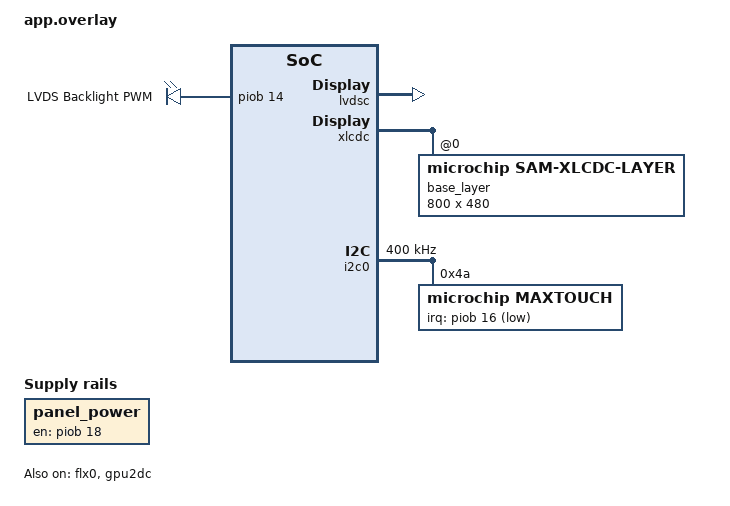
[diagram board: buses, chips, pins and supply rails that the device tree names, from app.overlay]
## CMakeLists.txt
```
target_sources(app PRIVATE
    src/main.c
    src/microbench.c
    src/draw_nano2d/lv_draw_nano2d.c
)

# Use LVGL's internal idle measurement for CPU (CONFIG_CPU_LOAD unavailable on A7D65 for some reason)
zephyr_compile_definitions(LV_SYSMON_GET_IDLE=lv_timer_get_idle)

# LVGL private headers (lv_draw_private.h, lv_area_private.h) for the nano2D draw
# unit, the nano2D GPU public headers, and the LVGL demo sources.
set(LVGL_DIR ${ZEPHYR_LVGL_MODULE_DIR})
target_include_directories(app PRIVATE
    ${LVGL_DIR}/src
    ${CMAKE_CURRENT_SOURCE_DIR}/../drivers/gpu/microchip_gc520ul/inc
)
file(GLOB_RECURSE LVGL_DEMO_SRCS
    ${LVGL_DIR}/demos/benchmark/*.c
    ${LVGL_DIR}/demos/widgets/*.c
    ${LVGL_DIR}/demos/lv_demos.c
)
target_sources(app PRIVATE ${LVGL_DEMO_SRCS})
```

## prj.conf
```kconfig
# Enable Logging (deferred mode — immediate blocks the render thread)
CONFIG_LOG=y
CONFIG_LOG_BUFFER_SIZE=2048
CONFIG_DISPLAY_LOG_LEVEL_INF=y

# Enable Display Subsystem
CONFIG_DISPLAY=y

# Enable XLCDC driver
CONFIG_DISPLAY_MICROCHIP_SAM_XLCDC=y
CONFIG_DISPLAY_MICROCHIP_SAM_XLCDC_LAYER=y

# Enable LVDSC bridge driver
CONFIG_DISPLAY_MICROCHIP_SAM_LVDSC=y

# Kernel VM must cover heap (16MB) + kernel code/data/stacks
CONFIG_KERNEL_VM_SIZE=0x2000000

# Stacks: LVGL rendering plus the nano2D GPU library's deep call chains / large
# frames. main() and POST_KERNEL device init (n2d_init/n2d_open) run on the main
# stack; the GPU ISR -> n2d_handle_events runs on the ISR stack. Sentinel turns
# any future overflow into a clean fatal.
CONFIG_MAIN_STACK_SIZE=16384
CONFIG_SYSTEM_WORKQUEUE_STACK_SIZE=4096
CONFIG_ISR_STACK_SIZE=4096
CONFIG_STACK_SENTINEL=y

# Keep MICROCHIP_SAM_XLCDC_DOUBLE_BUFFER OFF — LVGL owns the two VDBs (zero-copy).
# CONFIG_MICROCHIP_SAM_XLCDC_DOUBLE_BUFFER=y

# Heap for base-layer framebuffer + GC520UL GPU heap + slack
CONFIG_HEAP_MEM_POOL_SIZE=4194304

# GC520UL 2D GPU (nano2D library linked as a prebuilt static lib)
CONFIG_GPU_MICROCHIP_GC520UL=y

# Non-cached MMU region for the nano2D GPU heap. The GPU DMAs its command buffers
# straight out of this heap, so mapping the region non-cached keeps CPU writes
# coherent with the GPU without any per-allocation cache maintenance. Backs the
# __nocache gpu_heap in microchip_gc520ul.c — see there for the full rationale.
CONFIG_NOCACHE_MEMORY=y

# FLEXCOM MFD (sets FLEX_MR to TWI/SPI/USART mode)
CONFIG_MFD=y

# Panel power regulator (PB18 enable before touch init)
CONFIG_REGULATOR=y

# Input / Touch
CONFIG_INPUT=y
CONFIG_INPUT_MODE_SYNCHRONOUS=y

# LVGL (zero-copy: LVGL owns buffers, driver pointer-swaps DMA address)
CONFIG_LVGL=y
CONFIG_LV_Z_FULL_REFRESH=y
CONFIG_LV_Z_VDB_SIZE=100
CONFIG_LV_Z_DOUBLE_VDB=y
CONFIG_LV_Z_MEM_POOL_SIZE=524288
CONFIG_LV_COLOR_DEPTH_16=y
CONFIG_LV_DPI_DEF=128
# The GC520 needs its dest/source surface base cache-line aligned; align LVGL's
# draw buffers (incl. the VDBs the GPU renders into) to 64 bytes. Default 4
# leaves the VDB base misaligned -> GPU writes stray edge columns.
CONFIG_LV_DRAW_BUF_ALIGN=64
# Align LVGL's static image arrays (the const C-array assets the GPU blits as
# source surfaces) to 64 bytes too. Zephyr's lv_conf.h maps LV_ATTRIBUTE_MEM_ALIGN
# to __aligned(this); the default 1 leaves image bases 4-byte aligned, which the
# GC520 source fetch mis-reads (torn/sheared blit). The draw unit's alignment
# guard pushes any still-unaligned source to the SW renderer.
CONFIG_LV_ATTRIBUTE_MEM_ALIGN_SIZE=64
CONFIG_LV_FONT_MONTSERRAT_14=y
CONFIG_LV_FONT_MONTSERRAT_20=y
CONFIG_LV_FONT_MONTSERRAT_24=y
CONFIG_LV_FONT_MONTSERRAT_26=y
CONFIG_LV_FONT_MONTSERRAT_28=y

# LVGL Benchmark Demo (requires widgets demo)
CONFIG_LV_BUILD_DEMOS=y
CONFIG_LV_USE_DEMO_BENCHMARK=y
CONFIG_LV_USE_DEMO_WIDGETS=y
CONFIG_LV_DRAW_LAYER_SIMPLE_BUF_SIZE=76800
CONFIG_LV_USE_SYSMON=y
CONFIG_LV_USE_PERF_MONITOR=y

# Route LVGL's LV_LOG() through printf so the benchmark's per-scene and
# "All scenes avg." FPS/CPU CSV summary is emitted on the console UART (the
# on-screen summary table needs LV_USE_LOG too). USER level keeps it to the
# benchmark's own output without trace/info spam.
CONFIG_LV_USE_LOG=y
CONFIG_LV_LOG_LEVEL_USER=y
CONFIG_LV_LOG_PRINTF=y
```

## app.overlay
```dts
#include <zephyr/dt-bindings/gpio/gpio.h>
#include <zephyr/dt-bindings/interrupt-controller/arm-gic.h>
#include <zephyr/dt-bindings/i2c/i2c.h>
#include <zephyr/dt-bindings/mfd/mfd_mchp_sam_flexcom.h>

&pinctrl {
    flx0_i2c_default: flx0_i2c_default {
        group1 {
            pinmux = <PIN_PC7__FLEXCOM0_IO0>,  /* SDA */
                     <PIN_PC6__FLEXCOM0_IO1>;  /* SCL */
            bias-pull-up;
        };
    };
};

&flx0 {
    mchp,flexcom-mode = <SAM_FLEXCOM_MODE_TWI>;
    status = "okay";

    i2c0: i2c0@600 {
        pinctrl-0 = <&flx0_i2c_default>;
        pinctrl-names = "default";
        clock-frequency = <I2C_BITRATE_FAST>;
        status = "okay";

        maxtouch: maxtouch@4a {
            compatible = "microchip,maxtouch";
            reg = <0x4a>;
            irq-gpios = <&piob 16 GPIO_ACTIVE_LOW>;
            screen-width = <800>;
            screen-height = <480>;
            max-touches = <5>;
            startup-delay-ms = <100>;
        };
    };
};

/ {
    chosen {
        zephyr,display = &base_layer;
        zephyr,touch = &maxtouch;
    };
    panel_power: panel-power {
        compatible = "regulator-fixed";
        regulator-name = "panel-power";
        enable-gpios = <&piob 18 GPIO_ACTIVE_HIGH>;
        regulator-boot-on;
    };

    leds {
        compatible = "gpio-leds";

        gpio_lvds_pwm: led_piob_14 {
            gpios = <&piob 14 GPIO_ACTIVE_HIGH>;
            label = "LVDS Backlight PWM";
        };
    };

    gpu2dc: gpu@e1480000 {
        compatible = "microchip,gc520ul";
        reg = <0xe1480000 0x4000>;
        interrupt-parent = <&gic>;
        /* ARM GIC numbers SPIs from 0, while SoC interrupt IDs start at 32
         * (SPI 0 == IRQ 32). The GPU2DC SoC interrupt is 77, so its GIC SPI
         * number is 77 - 32 = 45.
         */
        interrupts = <GIC_SPI 45 IRQ_TYPE_LEVEL IRQ_DEFAULT_PRIORITY>;
        status = "okay";
    };

    lvdsc: lvdsc@e1408000 {
        compatible = "microchip,sam-lvdsc";
        status = "okay";
        reg = <0xe1408000 0x4000>;
        dpi-input-type = "24-bit";
        dc-mode = "unbalanced";
        mapping = "jeida";
        lane-a3-bit = <0>;
        dc-bias = <9>;
        pre-emphasis-clk = <0>;
        pre-emphasis-a0 = <0>;
        pre-emphasis-a1 = <0>;
        pre-emphasis-a2 = <0>;
        pre-emphasis-a3 = <0>;
    };

    xlcdc: xlcdc@e1400000 {
        compatible = "microchip,sama7d65-xlcdc";
        status = "okay";
        reg = <0xe1400000 0x4000>;
        interrupt-parent = <&gic>;
        interrupts = <GIC_SPI 56 IRQ_TYPE_LEVEL IRQ_DEFAULT_PRIORITY>;
        #address-cells = <1>;
        #size-cells = <0>;
        width = <800>;
        height = <480>;
        pixel-format = <3>;        /* RGB_565 */
        output-mode = "dpi-24";
        guard-time = <1>;
        backlight-pwm-source = "slow-clock";
        backlight-pwm-prescaler = <0>;
        backlight-brightness = <255>;
        port = <&lvdsc>;

        display-timings {
            compatible = "zephyr,panel-timing";
            clock-frequency = <25000000>;
            hsync-len = <5>;
            hfront-porch = <88>;
            hback-porch = <40>;
            vsync-len = <5>;
            vfront-porch = <23>;
            vback-porch = <1>;
            de-active = <0>;
            hsync-active = <1>;
            vsync-active = <1>;
            pixelclk-active = <0>;
        };

        base_layer: layer-base@0 {
            compatible = "microchip,sam-xlcdc-layer";
            reg = <0>;
            layer-type = "base";
            width = <800>;
            height = <480>;
            default-color = <0 0 0>;
            no-alloc-framebuffer;
        };
    };
};
```

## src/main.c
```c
/*
 * Copyright (c) 2026 Microchip Technology Inc.
 * SPDX-License-Identifier: Apache-2.0
 *
 * LCDC POC — LVGL Benchmark Demo
 */

#include <zephyr/device.h>
#include <zephyr/drivers/display.h>
#include <zephyr/drivers/gpio.h>
#include <zephyr/kernel.h>
#include <zephyr/logging/log.h>

#include <lvgl.h>

/* -----------------------------------------------------------------------
 * Benchmark knobs — edit these to switch modes, then rebuild.
 * ----------------------------------------------------------------------- */

/* 1 = register the GPU (GC520) draw unit before the benchmark runs.
 * 0 = pure software renderer — use this for the SW baseline comparison. */
#define USE_NANO2D_DRAW_UNIT 1

/* 1 = kick the GPU non-blocking (n2d_commit_ex) and reclaim via n2d_wait()
 *     so the SW unit can render independent tasks during GPU execution.
 *     Measured flat on this full-refresh benchmark (no independent SW work
 *     to overlap); kept for threaded-SW or GPU-heavy workloads.
 * 0 = blocking n2d_commit() per batch (default, proven path). */
#define NANO2D_ASYNC_COMMIT 0

/* 1 = run the GPU-vs-CPU per-op microbenchmark at boot (prints a CSV table
 *     over UART, then halts). GPU is initialised by the driver regardless.
 *     See src/microbench.c and benchmark_results.md for results.
 * 0 = run the normal LVGL benchmark demo (default). */
#define RUN_MICROBENCH 0

/* ----------------------------------------------------------------------- */

#include "draw_nano2d/lv_draw_nano2d.h"
#include "microbench.h"

/* LVGL benchmark demo — declared here to avoid include path issues */
void lv_demo_benchmark(void);

LOG_MODULE_REGISTER(main_app, LOG_LEVEL_INF);

static const struct gpio_dt_spec lvds_pwm =
	GPIO_DT_SPEC_GET(DT_NODELABEL(gpio_lvds_pwm), gpios);

int main(void)
{
	int ret;

	if (!gpio_is_ready_dt(&lvds_pwm)) {
		LOG_ERR("GPIO not ready");
		return -ENODEV;
	}

	ret = gpio_pin_configure_dt(&lvds_pwm, GPIO_OUTPUT_ACTIVE);
	if (ret < 0) {
		return ret;
	}

	const struct device *display_dev =
		DEVICE_DT_GET(DT_CHOSEN(zephyr_display));

	if (!device_is_ready(display_dev)) {
		LOG_ERR("Display device not ready");
		return -ENODEV;
	}

	display_blanking_off(display_dev);

#if USE_NANO2D_DRAW_UNIT
	/* Register the GPU draw unit before the benchmark creates any draw tasks.
	 * lv_init() has already run via the Zephyr LVGL display init by this point. */
	const struct device *gpu_dev = DEVICE_DT_GET(DT_NODELABEL(gpu2dc));

	if (device_is_ready(gpu_dev)) {
		lv_draw_nano2d_init();
	} else {
		LOG_WRN("GPU not ready; LVGL will render on SW only");
	}
#endif

#if RUN_MICROBENCH
	/* GPU-vs-CPU per-op microbenchmark, then halt (skips the demo). The GPU is
	 * already initialised by the driver at boot. */
	microbench_run();
	while (1) {
		k_sleep(K_MSEC(1000));
	}
#endif

	LOG_INF("Starting LVGL Benchmark");
	lv_demo_benchmark();

	while (1) {
		lv_timer_handler();
		k_sleep(K_MSEC(LV_DEF_REFR_PERIOD));
	}

	return 0;
}
```

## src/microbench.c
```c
/*
 * Copyright (c) 2026 Microchip Technology Inc.
 * SPDX-License-Identifier: Apache-2.0
 *
 * GPU-vs-CPU per-op microbenchmark (see microbench.h).
 *
 * For each op type and size it reports three per-op times (ns):
 *   SW       - software reference (plain C; the compiler may vectorise, but it
 *              is NOT the LVGL NEON renderer, so treat it as a *lower bound* on
 *              SW speed: if the GPU loses to this, it loses to LVGL SW too).
 *   GPU/op   - one op + its own n2d_commit (worst case: full per-commit cost).
 *   GPU marg - many ops in a single commit, divided out (best case: the commit
 *              cost is amortised; this is the marginal cost a size-gate cares
 *              about, since the real draw unit batches).
 * The crossover size (GPU marg < SW) is the size-gate sweet spot, if any.
 *
 * The GPU path includes the same cache maintenance the draw unit does (clean
 * source + dest before, invalidate dest after) so the numbers are comparable.
 */

#include "microbench.h"

#include <string.h>

#include <zephyr/cache.h>
#include <zephyr/kernel.h>
#include <zephyr/sys/printk.h>

#include "nano2D.h"

/* Destination is allocated tall enough for a 2x upscale of the largest source
 * (2 * 256 = 512 rows). Width matches a typical panel. */
#define DW       800
#define DH       512
#define SMAX     256
#define CL       64U

enum { OP_FILL, OP_COPY, OP_ALPHA, OP_SCALE, OP_CNT };
static const char *op_name[OP_CNT] = { "fill", "copy(RGB)", "alpha(ARGB)", "scale2x(RGB)" };

static uint16_t *dst;
static uint16_t *src565;
static uint32_t *srcargb;
static n2d_buffer_t dbuf, sbuf565, sbufargb;

static void mkbuf(n2d_buffer_t *b, void *p, int w, int h,
		  n2d_buffer_format_t fmt, int bpp)
{
	memset(b, 0, sizeof(*b));
	b->width = w;
	b->height = h;
	b->stride = w * bpp;
	b->format = fmt;
	b->tiling = N2D_LINEAR;
	b->memory = p;
	b->gpu = (n2d_uintptr_t)p;
}

/* Clean/invalidate a w x h dest region at (0,0), row by row (stride DW), like
 * the draw unit's cache_rows. */
static void dst_cache(int w, int h, bool inv)
{
	size_t bytes = (size_t)w * 2;

	for (int y = 0; y < h; y++) {
		uintptr_t row = (uintptr_t)(dst + (size_t)y * DW);
		uintptr_t s = row & ~(uintptr_t)(CL - 1U);
		uintptr_t e = (row + bytes + CL - 1U) & ~(uintptr_t)(CL - 1U);

		if (inv) {
			sys_cache_data_invd_range((void *)s, e - s);
		} else {
			sys_cache_data_flush_range((void *)s, e - s);
		}
	}
}

/* Clean the w x h source region the GPU will read (stride SMAX). */
static void src_clean(const void *base, int w, int h, int bpp)
{
	size_t bytes = (size_t)w * bpp;

	for (int y = 0; y < h; y++) {
		const uint8_t *row = (const uint8_t *)base + (size_t)y * SMAX * bpp;

		sys_cache_data_flush_range((void *)row, bytes);
	}
}

static void gpu_set_blend(bool alpha)
{
	n2d_state_config_t sc;

	memset(&sc, 0, sizeof(sc));
	sc.state = N2D_SET_PIXEL_MULTIPLY_MODE;
	sc.config.pixelMultiplyMode.srcPremult =
		alpha ? N2D_COLOR_MULTIPLY_ENABLE : N2D_COLOR_MULTIPLY_DISABLE;
	sc.config.pixelMultiplyMode.dstPremult = N2D_COLOR_MULTIPLY_DISABLE;
	sc.config.pixelMultiplyMode.srcGlobal = N2D_GLOBAL_COLOR_MULTIPLY_DISABLE;
	sc.config.pixelMultiplyMode.dstDemult = N2D_COLOR_MULTIPLY_DISABLE;
	(void)n2d_set(&sc);
}

/* Queue one GPU op (does not commit). Also cleans the source/dest it touches. */
static void gpu_queue(int op, int w, int h)
{
	switch (op) {
	case OP_FILL: {
		n2d_rectangle_t r = {0, 0, w, h};

		dst_cache(w, h, false);
		(void)n2d_fill(&dbuf, &r, (n2d_color_t)0xFFFF5050u, N2D_BLEND_NONE);
		break;
	}
	case OP_COPY: {
		n2d_rectangle_t dr = {0, 0, w, h};
		n2d_rectangle_t sr = {0, 0, w, h};

		gpu_set_blend(false);
		src_clean(src565, w, h, 2);
		dst_cache(w, h, false);
		(void)n2d_blit(&dbuf, &dr, &sbuf565, &sr, N2D_BLEND_NONE);
		break;
	}
	case OP_ALPHA: {
		n2d_rectangle_t dr = {0, 0, w, h};
		n2d_rectangle_t sr = {0, 0, w, h};

		gpu_set_blend(true);
		src_clean(srcargb, w, h, 4);
		dst_cache(w, h, false);
		(void)n2d_blit(&dbuf, &dr, &sbufargb, &sr, N2D_BLEND_SRC_OVER);
		break;
	}
	case OP_SCALE: {
		n2d_rectangle_t dr = {0, 0, 2 * w, 2 * h};
		n2d_rectangle_t sr = {0, 0, w, h};

		gpu_set_blend(false);
		src_clean(src565, w, h, 2);
		dst_cache(2 * w, 2 * h, false);
		(void)n2d_blit(&dbuf, &dr, &sbuf565, &sr, N2D_BLEND_NONE);
		break;
	}
	default:
		break;
	}
}

static void gpu_invd(int op, int w, int h)
{
	if (op == OP_SCALE) {
		dst_cache(2 * w, 2 * h, true);
	} else {
		dst_cache(w, h, true);
	}
}

/* ------------------------- software reference ------------------------- */

static void sw_op(int op, int w, int h)
{
	switch (op) {
	case OP_FILL:
		for (int y = 0; y < h; y++) {
			uint16_t *row = dst + (size_t)y * DW;

			for (int x = 0; x < w; x++) {
				row[x] = 0xFAAAu;
			}
		}
		break;
	case OP_COPY:
		for (int y = 0; y < h; y++) {
			memcpy(dst + (size_t)y * DW, src565 + (size_t)y * SMAX,
			       (size_t)w * 2);
		}
		break;
	case OP_ALPHA:
		for (int y = 0; y < h; y++) {
			uint16_t *d = dst + (size_t)y * DW;
			const uint32_t *s = srcargb + (size_t)y * SMAX;

			for (int x = 0; x < w; x++) {
				uint32_t px = s[x];
				uint32_t a = px >> 24;
				uint32_t sr = (px >> 16) & 0xFF;
				uint32_t sg = (px >> 8) & 0xFF;
				uint32_t sb = px & 0xFF;
				uint16_t dv = d[x];
				uint32_t dr = (dv >> 11) << 3;
				uint32_t dg = ((dv >> 5) & 0x3F) << 2;
				uint32_t db = (dv & 0x1F) << 3;
				uint32_t rr = (sr * a + dr * (255 - a)) / 255;
				uint32_t rg = (sg * a + dg * (255 - a)) / 255;
				uint32_t rb = (sb * a + db * (255 - a)) / 255;

				d[x] = (uint16_t)(((rr & 0xF8) << 8) |
						  ((rg & 0xFC) << 3) | (rb >> 3));
			}
		}
		break;
	case OP_SCALE:
		for (int y = 0; y < 2 * h; y++) {
			uint16_t *d = dst + (size_t)y * DW;
			const uint16_t *s = src565 + (size_t)(y >> 1) * SMAX;

			for (int x = 0; x < 2 * w; x++) {
				d[x] = s[x >> 1];
			}
		}
		break;
	default:
		break;
	}
}

/* ------------------------------ timing -------------------------------- */

static uint64_t ns_per(uint32_t cyc_total, uint32_t reps)
{
	return k_cyc_to_ns_floor64(cyc_total) / reps;
}

/* Many ops in a single commit -> marginal per-op cost (commit amortised). */
static uint64_t gpu_marginal_ns(int op, int w, int h, uint32_t k)
{
	uint32_t c0 = k_cycle_get_32();

	for (uint32_t i = 0; i < k; i++) {
		gpu_queue(op, w, h);
	}
	(void)n2d_commit();
	gpu_invd(op, w, h);

	uint32_t c1 = k_cycle_get_32();

	return ns_per(c1 - c0, k);
}

/* One op + its own commit, repeated -> full per-commit per-op cost. */
static uint64_t gpu_percommit_ns(int op, int w, int h, uint32_t m)
{
	uint32_t c0 = k_cycle_get_32();

	for (uint32_t i = 0; i < m; i++) {
		gpu_queue(op, w, h);
		(void)n2d_commit();
		gpu_invd(op, w, h);
	}

	uint32_t c1 = k_cycle_get_32();

	return ns_per(c1 - c0, m);
}

static uint64_t sw_ns(int op, int w, int h, uint32_t m)
{
	uint32_t c0 = k_cycle_get_32();

	for (uint32_t i = 0; i < m; i++) {
		sw_op(op, w, h);
	}

	uint32_t c1 = k_cycle_get_32();

	return ns_per(c1 - c0, m);
}

static void fill_sources(void)
{
	for (int y = 0; y < SMAX; y++) {
		for (int x = 0; x < SMAX; x++) {
			uint8_t r = (uint8_t)x, g = (uint8_t)y, b = 0x80;

			src565[y * SMAX + x] = (uint16_t)(((r & 0xF8) << 8) |
						((g & 0xFC) << 3) | (b >> 3));
			srcargb[y * SMAX + x] = ((uint32_t)((x ^ y) & 0xFF) << 24) |
						((uint32_t)r << 16) |
						((uint32_t)g << 8) | b;
		}
	}
	sys_cache_data_flush_range(src565, (size_t)SMAX * SMAX * 2);
	sys_cache_data_flush_range(srcargb, (size_t)SMAX * SMAX * 4);
}

void microbench_run(void)
{
	static const int sizes[] = {16, 32, 64, 128, 256};

	dst = k_aligned_alloc(CL, (size_t)DW * DH * 2);
	src565 = k_aligned_alloc(CL, (size_t)SMAX * SMAX * 2);
	srcargb = k_aligned_alloc(CL, (size_t)SMAX * SMAX * 4);
	if (!dst || !src565 || !srcargb) {
		printk("@MB alloc failed\n");
		return;
	}
	fill_sources();
	mkbuf(&dbuf, dst, DW, DH, N2D_RGB565, 2);
	mkbuf(&sbuf565, src565, SMAX, SMAX, N2D_RGB565, 2);
	mkbuf(&sbufargb, srcargb, SMAX, SMAX, N2D_ARGB8888, 4);

	/* Warm up the GPU (first commit pays one-time setup). */
	gpu_queue(OP_FILL, 32, 32);
	(void)n2d_commit();
	gpu_invd(OP_FILL, 32, 32);

	printk("@MB GPU vs CPU per-op (ns), GPU @532MHz. SW = plain C (lower bound).\n");
	printk("@MB op, size, SW_ns, GPU_op_ns, GPU_marg_ns, marg_winner\n");

	for (int o = 0; o < OP_CNT; o++) {
		for (size_t s = 0; s < ARRAY_SIZE(sizes); s++) {
			int w = sizes[s], h = sizes[s];
			uint64_t sw = sw_ns(o, w, h, 64);
			uint64_t gop = gpu_percommit_ns(o, w, h, 64);
			uint64_t gmarg = gpu_marginal_ns(o, w, h, 32);
			const char *win = (gmarg < sw) ? "GPU" : "CPU";

			printk("@MB %s, %d, %llu, %llu, %llu, %s\n",
			       op_name[o], w, (unsigned long long)sw,
			       (unsigned long long)gop,
			       (unsigned long long)gmarg, win);
		}
	}

	/* Full-screen fill (most GPU-favourable fill). */
	{
		uint64_t sw = sw_ns(OP_FILL, DW, 480, 16);
		uint64_t gop = gpu_percommit_ns(OP_FILL, DW, 480, 16);
		uint64_t gmarg = gpu_marginal_ns(OP_FILL, DW, 480, 8);

		printk("@MB fill, %dx480, %llu, %llu, %llu, %s\n", DW,
		       (unsigned long long)sw, (unsigned long long)gop,
		       (unsigned long long)gmarg, (gmarg < sw) ? "GPU" : "CPU");
	}

	printk("@MB done\n");
}
```

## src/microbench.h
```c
/*
 * Copyright (c) 2026 Microchip Technology Inc.
 * SPDX-License-Identifier: Apache-2.0
 *
 * GPU-vs-CPU per-op microbenchmark. Times nano2D GPU ops against a software
 * reference across op types and sizes to find the size at which the GPU beats
 * the CPU (if ever). Results are printed over the console as a CSV table.
 */

#ifndef MICROBENCH_H_
#define MICROBENCH_H_

/* Run the microbenchmark once and print results. The GC520 must be initialised
 * (the driver does n2d_init/n2d_open at boot). Does not use LVGL. */
void microbench_run(void);

#endif /* MICROBENCH_H_ */
```
